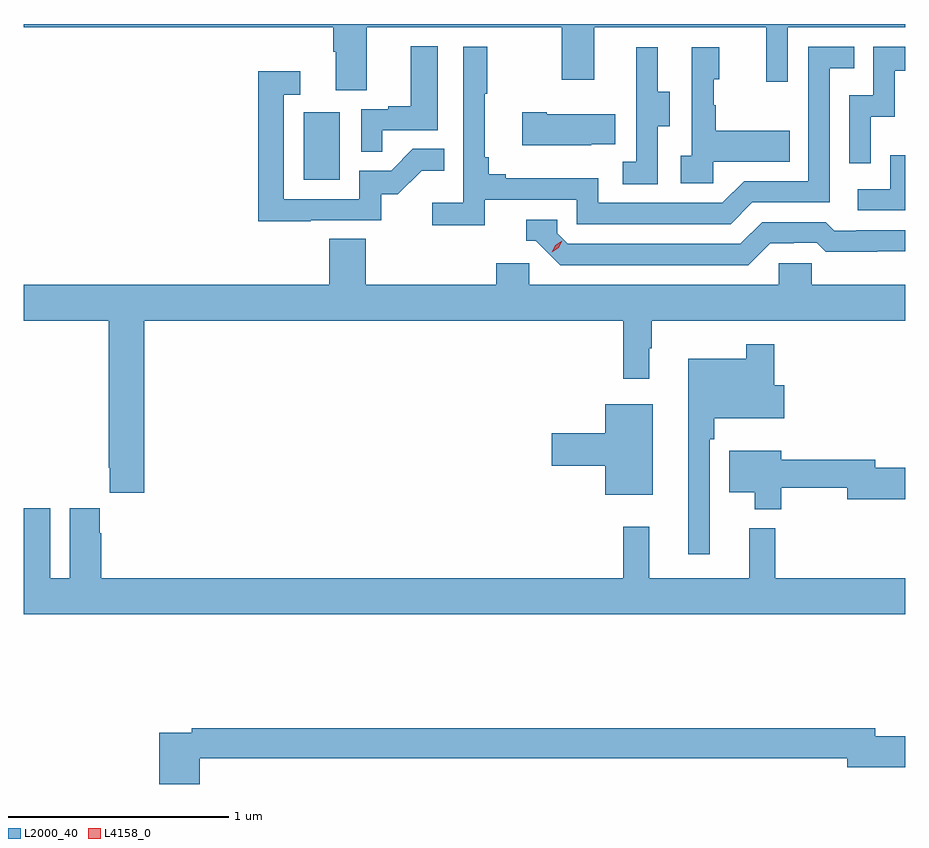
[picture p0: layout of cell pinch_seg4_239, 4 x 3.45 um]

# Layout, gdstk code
import gdstk
lib = gdstk.Library(unit=1e-6, precision=1e-09)
def R(c, l, rs):  # rectangles x0, y0, x1, y1
    for r in rs: c.add(gdstk.rectangle(r[:2], r[2:], *l))
def P(c, l, *ps):  # polygons
    for p in ps: c.add(gdstk.Polygon(p, *l))
L2000_40 = (2000, 40)
L4158_0 = (4158, 0)

pinch_seg4_239 = lib.new_cell('pinch_seg4_239')
R(pinch_seg4_239, L2000_40, [(910.796,832.092,910.96,832.399)])
P(pinch_seg4_239, L2000_40, [(911.083,832.784),(911.968,832.784),(911.968,832.545),(912.115,832.545),(912.115,832.784),(912.896,832.784),(912.896,832.536),(912.993,832.536),(912.993,832.784),(913.526,832.784),(913.526,832.799),(909.526,832.799),(909.526,832.784),(910.931,832.784),(910.931,832.672),(910.943,832.672),(910.943,832.498),(911.083,832.498)],
  [(911.153,832.317),(911.404,832.317),(911.404,832.699),(911.282,832.699),(911.282,832.426),(911.179,832.426),(911.179,832.413),(911.058,832.413),(911.058,832.219),(911.153,832.219)],
  [(911.618,832.002),(912.036,832.002),(912.036,831.891),(912.733,831.891),(912.832,831.99),(913.182,831.99),(913.182,832.599),(913.295,832.599),(913.295,832.695),(913.086,832.695),(913.086,832.086),(912.795,832.086),(912.696,831.987),(912.132,831.987),(912.132,832.099),(911.713,832.099),(911.713,832.118),(911.636,832.118),(911.636,832.195),(911.617,832.195),(911.617,832.483),(911.629,832.483),(911.629,832.696),(911.52,832.696),(911.52,831.988),(911.379,831.988),(911.379,831.886),(911.618,831.886)],
  [(913.368,832.379),(913.478,832.379),(913.478,832.587),(913.526,832.587),(913.526,832.695),(913.38,832.695),(913.38,832.476),(913.272,832.476),(913.272,832.167),(913.368,832.167)],
  [(912.402,832.336),(912.457,832.336),(912.457,832.491),(912.403,832.491),(912.403,832.693),(912.305,832.693),(912.305,832.479),(912.306,832.479),(912.306,832.175),(912.243,832.175),(912.243,832.072),(912.402,832.072)],
  [(912.654,832.175),(913.001,832.175),(913.001,832.315),(912.667,832.315),(912.667,832.43),(912.657,832.43),(912.657,832.548),(912.682,832.548),(912.682,832.693),(912.558,832.693),(912.558,832.202),(912.507,832.202),(912.507,832.077),(912.654,832.077)],
  [(910.829,831.909),(911.148,831.909),(911.148,832.026),(911.224,832.026),(911.331,832.133),(911.435,832.133),(911.435,832.232),(911.292,832.232),(911.194,832.134),(911.049,832.134),(911.049,832.005),(910.707,832.005),(910.707,832.479),(910.78,832.479),(910.78,832.585),(910.591,832.585),(910.591,831.904),(910.829,831.904)],
  [(912.101,832.253),(912.209,832.253),(912.209,832.39),(911.899,832.39),(911.899,832.398),(911.787,832.398),(911.787,832.25),(912.101,832.25)],
  [(913.526,832.204),(913.458,832.204),(913.458,832.05),(913.311,832.05),(913.311,831.954),(913.526,831.954)],
  [(912.913,831.804),(913.02,831.804),(913.02,831.807),(913.123,831.807),(913.165,831.765),(913.398,831.765),(913.398,831.767),(913.526,831.767),(913.526,831.864),(913.303,831.864),(913.303,831.861),(913.204,831.861),(913.165,831.9),(912.876,831.9),(912.777,831.801),(911.994,831.801),(911.946,831.849),(911.946,831.912),(911.807,831.912),(911.807,831.816),(911.85,831.816),(911.961,831.705),(912.814,831.705)],
  [(910.073,831.452),(912.247,831.452),(912.247,831.189),(912.364,831.189),(912.364,831.329),(912.376,831.329),(912.376,831.452),(913.526,831.452),(913.526,831.616),(913.101,831.616),(913.101,831.714),(912.951,831.714),(912.951,831.616),(911.82,831.616),(911.82,831.714),(911.669,831.714),(911.669,831.616),(911.078,831.616),(911.078,831.824),(910.913,831.824),(910.913,831.616),(909.526,831.616),(909.526,831.452),(909.913,831.452),(909.913,830.785),(909.917,830.785),(909.917,830.673),(910.073,830.673)],
  [(912.639,830.915),(912.659,830.915),(912.659,831.011),(912.976,831.011),(912.976,831.159),(912.932,831.159),(912.932,831.346),(912.804,831.346),(912.804,831.28),(912.542,831.28),(912.542,830.394),(912.639,830.394)],
  [(912.379,831.073),(912.164,831.073),(912.164,830.942),(911.922,830.942),(911.922,830.795),(912.164,830.795),(912.164,830.663),(912.379,830.663)],
  [(912.964,830.694),(913.262,830.694),(913.262,830.644),(913.526,830.644),(913.526,830.786),(913.39,830.786),(913.39,830.822),(912.964,830.822),(912.964,830.863),(912.728,830.863),(912.728,830.675),(912.842,830.675),(912.842,830.597),(912.964,830.597)],
  [(913.526,830.284),(912.935,830.284),(912.935,830.512),(912.818,830.512),(912.818,830.284),(912.365,830.284),(912.365,830.518),(912.247,830.518),(912.247,830.284),(909.878,830.284),(909.878,830.489),(909.871,830.489),(909.871,830.602),(909.734,830.602),(909.734,830.284),(909.646,830.284),(909.646,830.602),(909.526,830.602),(909.526,830.12),(913.526,830.12)],
  [(910.325,829.468),(913.262,829.468),(913.262,829.426),(913.526,829.426),(913.526,829.568),(913.39,829.568),(913.39,829.604),(910.288,829.604),(910.288,829.584),(910.142,829.584),(910.142,829.351),(910.325,829.351)])
P(pinch_seg4_239, L4158_0, [(911.922,831.763),(911.922,831.763),(911.938,831.796),(911.969,831.816),(911.969,831.816),(911.969,831.816),(911.953,831.783),(911.922,831.763)])

lib.write_gds('pinch_seg4_239.gds')
